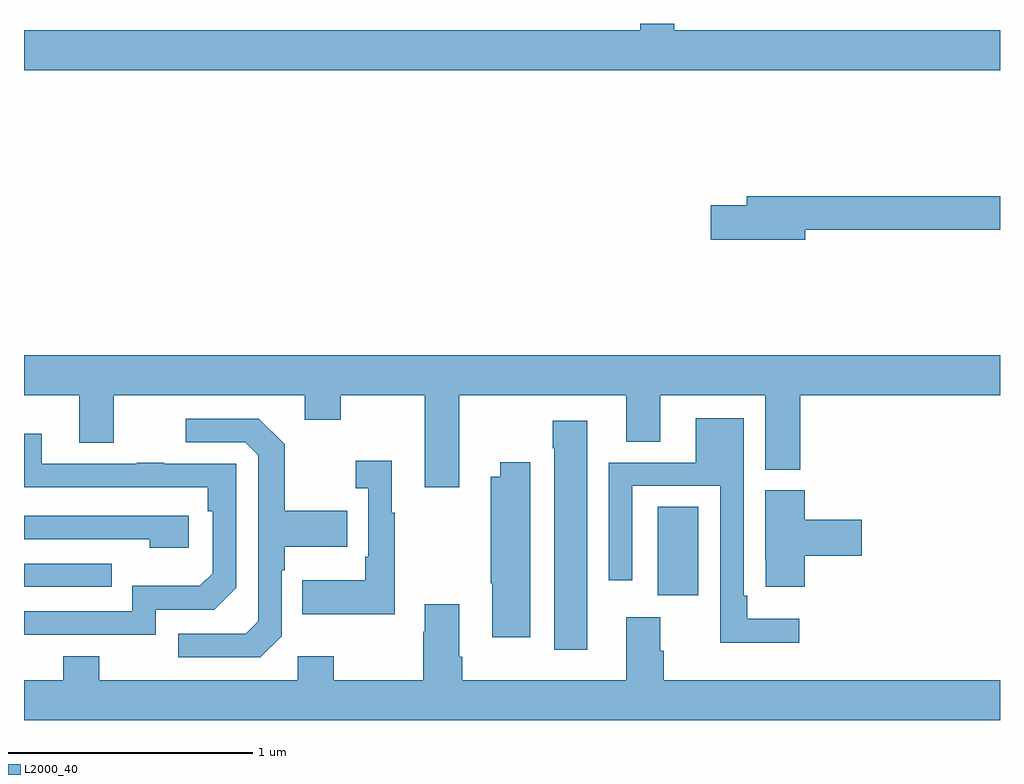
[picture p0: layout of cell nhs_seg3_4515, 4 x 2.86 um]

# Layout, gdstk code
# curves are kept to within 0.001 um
import gdstk
lib = gdstk.Library(unit=1e-6, precision=1e-09)
def R(c, l, rs):  # rectangles x0, y0, x1, y1
    for r in rs: c.add(gdstk.rectangle(r[:2], r[2:], *l))
def P(c, l, *ps):  # polygons
    for p in ps: c.add(gdstk.Polygon(p, *l))
L2000_40 = (2000, 40)

nhs_seg3_4515 = lib.new_cell('nhs_seg3_4515')
R(nhs_seg3_4515, L2000_40, [(353.597,740.058,353.764,740.42), (351,740.091,351.359,740.187)])
P(nhs_seg3_4515, L2000_40, [(355,742.372),(353.665,742.372),(353.665,742.4),(353.526,742.4),(353.526,742.372),(351,742.372),(351,742.208),(355,742.208)],
  [(354.202,741.556),(355,741.556),(355,741.692),(353.963,741.692),(353.963,741.656),(353.814,741.656),(353.814,741.514),(354.202,741.514)],
  [(352.783,740.876),(353.468,740.876),(353.468,740.686),(353.608,740.686),(353.608,740.876),(354.038,740.876),(354.038,740.572),(354.182,740.572),(354.182,740.876),(355,740.876),(355,741.04),(351,741.04),(351,740.876),(351.227,740.876),(351.227,740.682),(351.367,740.682),(351.367,740.876),(352.151,740.876),(352.151,740.777),(352.299,740.777),(352.299,740.876),(352.643,740.876),(352.643,740.499),(352.783,740.499)],
  [(354.178,739.96),(353.965,739.96),(353.965,740.056),(353.949,740.056),(353.949,740.782),(353.753,740.782),(353.753,740.601),(353.397,740.601),(353.397,740.118),(353.493,740.118),(353.493,740.505),(353.853,740.505),(353.853,739.862),(354.178,739.862)],
  [(352.056,739.89),(352.056,740.159),(352.069,740.159),(352.069,740.255),(352.325,740.255),(352.325,740.403),(352.069,740.403),(352.069,740.675),(351.963,740.781),(351.663,740.781),(351.663,740.685),(351.906,740.685),(351.96,740.631),(351.96,739.95),(351.909,739.899),(351.633,739.899),(351.633,739.803),(351.969,739.803)],
  [(353.308,740.773),(353.167,740.773),(353.167,740.66),(353.174,740.66),(353.174,739.833),(353.308,739.833)],
  [(351.54,739.998),(351.78,739.998),(351.87,740.088),(351.87,740.595),(351.575,740.595),(351.575,740.6),(351.463,740.6),(351.463,740.595),(351.073,740.595),(351.073,740.719),(351,740.719),(351,740.5),(351.754,740.499),(351.754,740.402),(351.774,740.402),(351.774,740.148),(351.721,740.095),(351.444,740.095),(351.444,739.992),(351,739.992),(351,739.896),(351.54,739.896)],
  [(352.519,740.395),(352.507,740.395),(352.507,740.608),(352.359,740.608),(352.359,740.495),(352.41,740.495),(352.41,740.215),(352.398,740.215),(352.398,740.119),(352.141,740.119),(352.141,739.979),(352.519,739.979)],
  [(353.074,740.602),(352.952,740.602),(352.952,740.542),(352.912,740.542),(352.912,740.107),(352.919,740.107),(352.919,739.884),(353.074,739.884)],
  [(354.2,740.219),(354.433,740.219),(354.433,740.366),(354.2,740.366),(354.2,740.487),(354.038,740.487),(354.038,740.203),(354.039,740.203),(354.039,740.091),(354.2,740.091)],
  [(351.676,740.382),(351,740.382),(351,740.286),(351.515,740.286),(351.515,740.252),(351.676,740.252)],
  [(355,739.708),(353.621,739.708),(353.621,739.829),(353.608,739.829),(353.608,739.966),(353.468,739.966),(353.468,739.708),(352.796,739.708),(352.796,739.804),(352.783,739.804),(352.783,740.02),(352.643,740.02),(352.643,739.907),(352.636,739.907),(352.636,739.708),(352.269,739.708),(352.269,739.807),(352.122,739.807),(352.122,739.708),(351.309,739.708),(351.309,739.807),(351.161,739.807),(351.161,739.708),(351,739.708),(351,739.544),(355,739.544)])

lib.write_gds('nhs_seg3_4515.gds')
